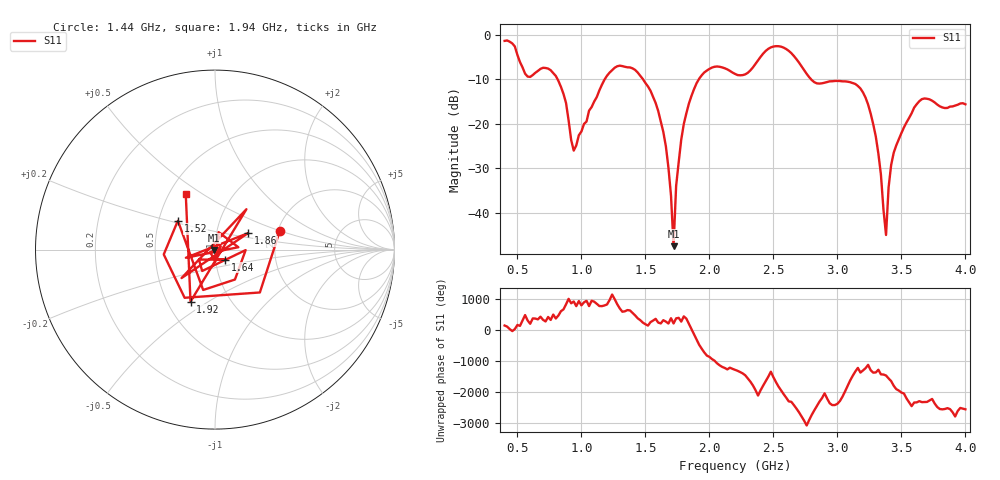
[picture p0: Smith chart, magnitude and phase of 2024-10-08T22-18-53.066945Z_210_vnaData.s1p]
! Created with skrf (http://scikit-rf.org).
# Hz S RI R 50.0
!freq ReS11 ImS11
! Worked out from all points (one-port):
!   181 points, 400 MHz to 4 GHz, reference 50 ohm
!   lowest |S11| = -47.5 dB at 1.72 GHz (marker M1), VSWR 1.01, Z = 49.6 - j0.213 ohm
!   |S11| at or under -10 dB: 813.2 MHz to 1.183 GHz (369.4 MHz wide, 37 % of centre); 1.481 GHz to 1.918 GHz (437.2 MHz wide, 25.7 % of centre); 2.794 GHz to end of sweep
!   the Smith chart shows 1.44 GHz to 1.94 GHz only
!   S11 on the Smith chart (normalised r, x): 1.44 GHz: 2.05, +0.49; 1.52 GHz: 0.63, +0.22; 1.64 GHz: 1.12, -0.13; 1.86 GHz: 1.42, +0.27; 1.92 GHz: 0.65, -0.42; 1.94 GHz: 0.61, +0.43
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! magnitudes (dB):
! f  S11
! 400 MHz  -1.4
! 580 MHz  -9.4
! 740 MHz  -7.6
! 860 MHz  -13.3
! 940 MHz  -26.0
! 1.3 GHz  -7.0
! 1.44 GHz  -8.5
! 1.52 GHz  -11.6
! 1.64 GHz  -21.9
! 1.7 GHz  -36.1
! 1.72 GHz  -47.5
! 1.74 GHz  -34.0
! 1.76 GHz  -28.7
! 1.86 GHz  -13.7
! 1.92 GHz  -9.9
! 1.94 GHz  -9.1
! 2.2 GHz  -8.8
! 2.5 GHz  -2.7
! 2.66 GHz  -4.8
! 2.82 GHz  -10.7
! 3.1 GHz  -10.7
! 3.28 GHz  -20.1
! 3.34 GHz  -31.4
! 3.38 GHz  -45.0
! 3.42 GHz  -29.3
! 3.56 GHz  -18.7
! 3.68 GHz  -14.3
! 4 GHz  -15.6
